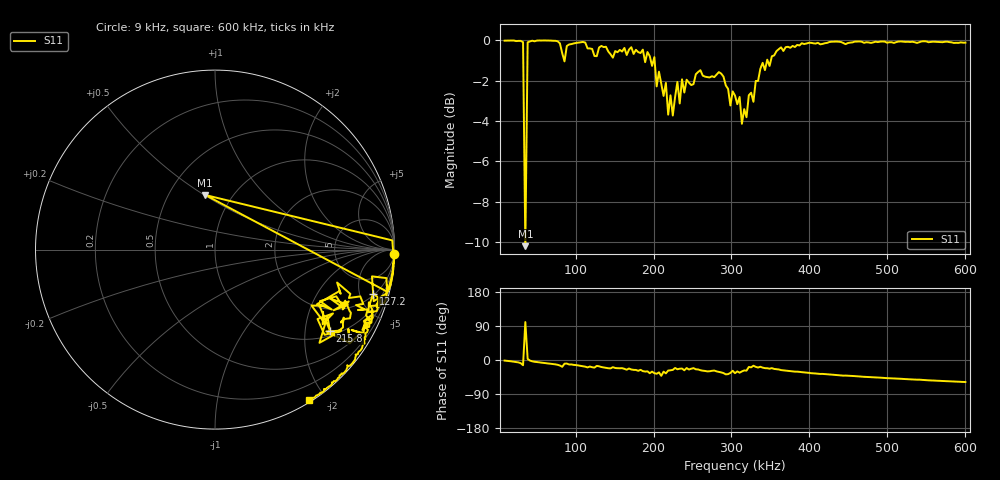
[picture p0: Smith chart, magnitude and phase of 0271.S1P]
!Agilent Technologies,E5071C,MY46100265,A.07.02
!Date: Fri Jan 31 11:55:25 2020
!Data & Calibration Information:
!Freq	S11:SOLT1(ON)
# Hz S dB R 50
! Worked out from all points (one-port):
!   201 points, 9 kHz to 600 kHz, reference 50 ohm
!   lowest |S11| = -10.2 dB at 35.59 kHz (marker M1), VSWR 1.89, Z = 37.6 + j25.3 ohm
!   |S11| at or under -10 dB: 35.53702 kHz to 35.65303 kHz (116 Hz wide, 0.326 % of centre)
!   S11 on the Smith chart (normalised r, x): 9 kHz: 4, -74; 127.2 kHz: 2.22, -6.60; 215.8 kHz: 1.15, -2.71; 600 kHz: 0.03, -1.80
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9000  -0.01 -1.5
32640  -0.09 -13.8
35595  -10.20 100.1
38550  -0.10 3.0
82875  -0.63 -18.0
85830  -1.04 -9.7
115380  -0.40 -19.5
127200  -0.78 -15.5
156750  -0.47 -21.8
195165  -0.78 -34.9
201075  -0.83 -34.7
204030  -2.28 -36.4
206985  -1.55 -32.7
209940  -2.16 -41.7
212895  -2.75 -30.7
215850  -2.11 -35.2
218805  -3.68 -27.8
230625  -2.06 -24.5
233580  -3.13 -23.0
257220  -1.57 -24.9
304500  -2.73 -34.7
313365  -4.13 -30.1
328140  -3.04 -15.1
339960  -1.11 -20.1
378375  -0.27 -30.0
452250  -0.11 -41.7
526125  -0.07 -50.7
600000  -0.11 -58.1
